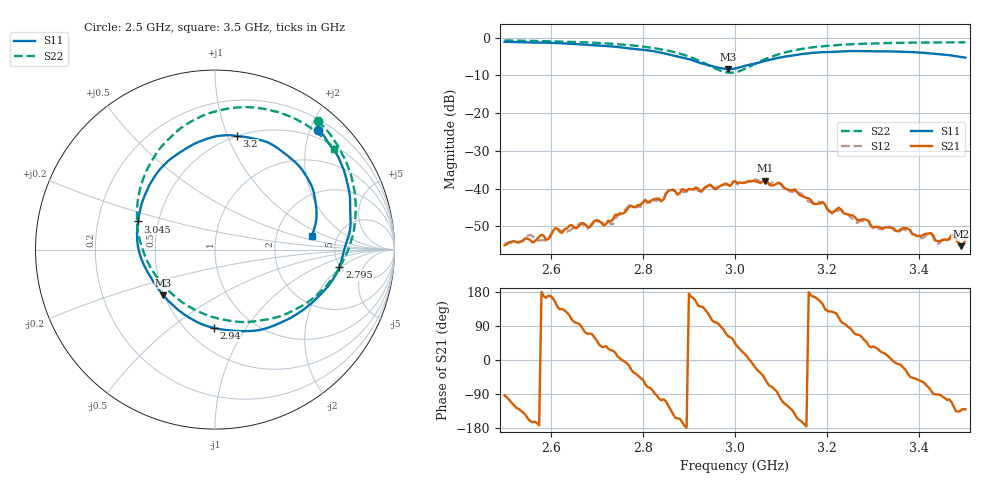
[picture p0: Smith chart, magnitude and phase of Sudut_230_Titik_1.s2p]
# Hz S RI R 50
! CMT, C1220, 16058040, 17.2.0/1
! Date: 15/08/2018 09:49:22
! Data: Format (Calibration Info)
! Freq  S11: Re/Im (F2)  S21: Re/Im (F2)  S12: Re/Im (F2)  S22: Re/Im (F2)
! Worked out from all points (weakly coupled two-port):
!   201 points, 2.5 GHz to 3.5 GHz, reference 50 ohm
!   highest |S21| = -37.84 dB at 3.065 GHz (marker M1); lowest = -55.2 dB at 3.49 GHz (marker M2)
!   lowest |S11| = -8.3 dB at 2.985 GHz (marker M3), VSWR 2.25, Z = 24.7 - j14.6 ohm
!   |S11| at or under -10 dB: nowhere
!   |S22| runs from -9.3 to -0.7 dB; largest |S21 - S12| = 0.0011
!   S11 on the Smith chart (normalised r, x): 2.5 GHz: 0.35, +2.13; 2.795 GHz: 4.93, -1.87; 2.94 GHz: 0.67, -0.72; 3.045 GHz: 0.38, +0.15; 3.2 GHz: 0.50, +1.08; 3.5 GHz: 3.23, +0.68
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2.5e9  0.5764 0.6687  -0.000109 -0.00178  -9.58e-05 -0.00192  0.5749 0.718
2.555e9  0.641 0.5815  -0.00198 -0.000709  -0.00227 -0.000927  0.636 0.6492
2.59e9  0.686 0.5172  -0.00202 0.000569  -0.00199 0.000346  0.6723 0.5969
2.61e9  0.7032 0.4783  -0.00267 0.00138  -0.00262 0.00134  0.6928 0.563
2.67e9  0.7471 0.3271  0.000507 0.00347  0.000696 0.00334  0.7477 0.445
2.735e9  0.7542 0.1284  0.00353 0.00162  0.00309 0.0014  0.782 0.277
2.77e9  0.7214 0.00525  0.00555 -0.00145  0.00578 -0.00166  0.7813 0.1655
2.795e9  0.6933 -0.0967  0.00412 -0.00451  0.0038 -0.00429  0.7667 0.0767
2.835e9  0.5933 -0.2449  -0.00146 -0.00723  -0.00115 -0.007  0.7047 -0.0785
2.94e9  -0.00755 -0.4359  -0.00619 0.0088  -0.00642 0.00868  0.1768 -0.4037
2.985e9  -0.2901 -0.252  0.00509 0.00992  0.00475 0.0103  -0.1789 -0.2959
3e9  -0.3586 -0.1536  0.00913 0.00869  0.00961 0.00819  -0.279 -0.2072
3.045e9  -0.4289 0.1571  0.0116 -0.0045  0.0124 -0.00465  -0.4341 0.1394
3.065e9  -0.3952 0.2933  0.00832 -0.00976  0.0078 -0.00913  -0.4266 0.2946
3.17e9  0.00917 0.632  -0.00616 0.00138  -0.00633 0.000949  -0.0704 0.745
3.2e9  0.1235 0.6329  -0.00344 0.00414  -0.00333 0.00435  0.0428 0.7797
3.335e9  0.4774 0.4546  0.00305 0.000366  0.00315 0.000198  0.417 0.7419
3.425e9  0.5599 0.2634  0.000448 -0.00255  0.000365 -0.00255  0.572 0.6487
3.44e9  0.5652 0.2232  -2.87e-05 -0.00202  -9.6e-05 -0.00187  0.594 0.6308
3.475e9  0.5582 0.1365  -0.00139 -0.0021  -0.00129 -0.00206  0.6369 0.5898
3.49e9  0.5475 0.0987  -0.0012 -0.00125  -0.00133 -0.00119  0.654 0.571
3.5e9  0.5395 0.0745  -0.00137 -0.00162  -0.00134 -0.00141  0.6653 0.5582
